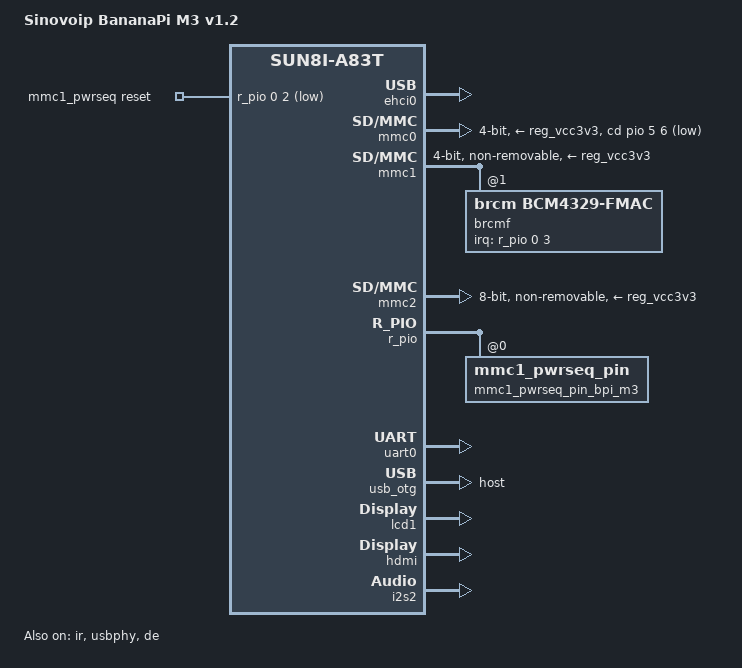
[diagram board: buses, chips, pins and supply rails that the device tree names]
/*
 * Copyright 2016 Vishnu Patekar
 * Vishnu Patekar <vishnupatekar0510@gmail.com>
 *
 * This file is dual-licensed: you can use it either under the terms
 * of the GPL or the X11 license, at your option. Note that this dual
 * licensing only applies to this file, and not this project as a
 * whole.
 *
 *  a) This file is free software; you can redistribute it and/or
 *     modify it under the terms of the GNU General Public License as
 *     published by the Free Software Foundation; either version 2 of the
 *     License, or (at your option) any later version.
 *
 *     This file is distributed in the hope that it will be useful,
 *     but WITHOUT ANY WARRANTY; without even the implied warranty of
 *     MERCHANTABILITY or FITNESS FOR A PARTICULAR PURPOSE.  See the
 *     GNU General Public License for more details.
 *
 * Or, alternatively,
 *
 *  b) Permission is hereby granted, free of charge, to any person
 *     obtaining a copy of this software and associated documentation
 *     files (the "Software"), to deal in the Software without
 *     restriction, including without limitation the rights to use,
 *     copy, modify, merge, publish, distribute, sublicense, and/or
 *     sell copies of the Software, and to permit persons to whom the
 *     Software is furnished to do so, subject to the following
 *     conditions:
 *
 *     The above copyright notice and this permission notice shall be
 *     included in all copies or substantial portions of the Software.
 *
 *     THE SOFTWARE IS PROVIDED "AS IS", WITHOUT WARRANTY OF ANY KIND,
 *     EXPRESS OR IMPLIED, INCLUDING BUT NOT LIMITED TO THE WARRANTIES
 *     OF MERCHANTABILITY, FITNESS FOR A PARTICULAR PURPOSE AND
 *     NONINFRINGEMENT. IN NO EVENT SHALL THE AUTHORS OR COPYRIGHT
 *     HOLDERS BE LIABLE FOR ANY CLAIM, DAMAGES OR OTHER LIABILITY,
 *     WHETHER IN AN ACTION OF CONTRACT, TORT OR OTHERWISE, ARISING
 *     FROM, OUT OF OR IN CONNECTION WITH THE SOFTWARE OR THE USE OR
 *     OTHER DEALINGS IN THE SOFTWARE.
 */

/dts-v1/;
#include "sun8i-a83t.dtsi"
#include "sunxi-common-regulators.dtsi"

#include <dt-bindings/gpio/gpio.h>
#include <dt-bindings/input/input.h>
#include <dt-bindings/pinctrl/sun4i-a10.h>

/ {
	model = "Sinovoip BananaPi M3 v1.2";
	compatible = "sinovoip,bpi-m3", "allwinner,sun8i-a83t";

	aliases {
		serial0 = &uart0;
		lcd1 = &lcd1;
	};

	chosen {
		stdout-path = "serial0:115200n8";
	};

	mmc1_pwrseq: mmc1_pwrseq {
		compatible = "mmc-pwrseq-simple";
		pinctrl-names = "default";
		pinctrl-0 = <&mmc1_pwrseq_pin_bpi_m3>;
//fixme
		reset-gpios = <&r_pio 0 2 GPIO_ACTIVE_LOW>; /* PL2 WIFI_EN */
	};
};

&ccu {
	/* force some rates */
	assigned-clocks = <&ccu CLK_PLL_PERIPH>,
			<&ccu CLK_PLL_VE>,
			<&ccu CLK_PLL_GPU>,
			<&ccu CLK_PLL_HSIC>,
			<&ccu CLK_PLL_VIDEO1>;
	assigned-clock-rates =	<600000000>,	// pll_periph
				<432000000>,	// pll_ve
				<432000000>,	// pll_gpu
				<480000000>,	// pll_hsic
				<118800000>;	// pll_video1
};

&ehci0 {
	/* Terminus Tech FE 1.1s 4-port USB 2.0 hub here */
	status = "okay";

	/* TODO GL830 USB-to-SATA bridge downstream w/ GPIO power controls */
};

&mmc0 {						// SD card
	pinctrl-names = "default";
	pinctrl-0 = <&mmc0_pins_a>, <&mmc0_cd_pin>;
	vmmc-supply = <&reg_vcc3v3>;
	cd-gpios = <&pio 5 6 GPIO_ACTIVE_HIGH>; /* PF6 */
	bus-width = <4>;
	cd-inverted;
	status = "okay";
};

// copy from Bananapi M2+ (wens)
&mmc1 {						// wifi/BT
	pinctrl-names = "default";
	pinctrl-0 = <&mmc1_pins_a>;
//fixme: no power/regulator, but needed in the mmc driver
	vmmc-supply = <&reg_vcc3v3>;
	mmc-pwrseq = <&mmc1_pwrseq>;
//fixme: live: bus width = 3 (8 bits)
//fixme: .fex:
// wl_reg_on PL2 1
// wl_host_wake PL3 4
	bus-width = <4>;
	non-removable;
//fixme: added 16-06-23
	enable-wakeup;
	status = "okay";

	brcmf: bcrmf@1 {
		reg = <1>;
		compatible = "brcm,bcm4329-fmac";
		interrupt-parent = <&r_pio>;
//fixme: live: irq 3 (absolute) - doc hard wake-ap = PL3
		interrupts = <0 3 IRQ_TYPE_LEVEL_LOW>; /* PL3 */
		interrupt-names = "host-wake";
	};
};

&mmc2 {					// eMMC
	pinctrl-names = "default";
	pinctrl-0 = <&mmc2_8bit_pins>;
	vmmc-supply = <&reg_vcc3v3>;
	vqmmc-supply = <&reg_vcc3v3>;
	bus-width = <8>;
	non-removable;
//wens - not added - back 16-06-13
	cap-mmc-hw-reset;
//	mmc-ddr-1_8v;		set by default
	status = "okay";
};

&r_pio {
	mmc1_pwrseq_pin_bpi_m3: mmc1_pwrseq_pin@0 {
		allwinner,pins = "PL2";
		allwinner,function = "gpio_out";
		allwinner,drive = <SUN4I_PINCTRL_10_MA>;
		allwinner,pull = <SUN4I_PINCTRL_NO_PULL>;
	};
};

&r_rsb {
	status = "okay";
};

&ir {
	status = "okay";
};

&reg_usb1_vbus {
	gpio = <&pio 3 24 GPIO_ACTIVE_HIGH>; /* PD24 */
	status = "okay";
};

&reg_vcc3v0 {
	status = "disabled";
};

&reg_vcc5v0 {
	status = "disabled";
};

&uart0 {
	pinctrl-names = "default";
	pinctrl-0 = <&uart0_pins_b>;
	status = "okay";
};

&usbphy {
	usb1_vbus-supply = <&reg_usb1_vbus>;
	status = "okay";
};

&usb_otg {
	/* VBUS detection/drive support in PMIC required for OTG */
	dr_mode = "host";
	status = "okay";
};

&usb1_vbus_pin_a {
	allwinner,pins = "PD24";
};

&de {
	status = "okay";
};

&lcd1 {
	status = "okay";
};

&hdmi {
	status = "okay";
};

&i2s2 {
	status = "okay";
};
